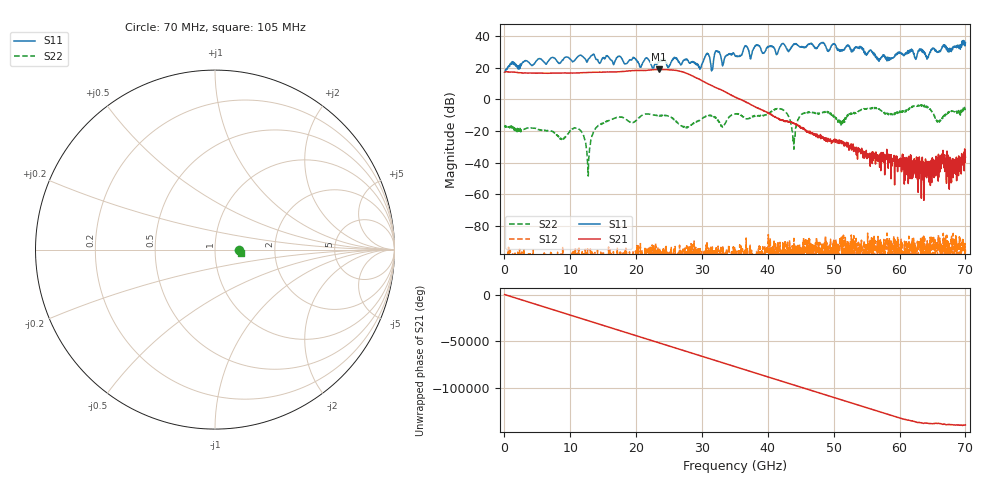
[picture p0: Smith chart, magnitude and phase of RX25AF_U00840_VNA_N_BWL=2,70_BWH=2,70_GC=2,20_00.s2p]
! 3/24/2021 11:01:35 AM, file used: 20210120_TX1550_0dBm_deembed_OFF.chx
! Z:\PRODUCTIONTESTRESULTS\RXANDRXM\VNA TEMP\VNA_TEMP_1_2489361658.S2P
! CHANNEL.1
! TR.MEASUREMENT
! CORRECTED.DATA
# GHZ S DB R 50.0
! FREQ.GHZ  S11DB  S11A  S21DB  S21A  S12DB  S12A  S22DB  S22A
!; PortSelection: Port_12
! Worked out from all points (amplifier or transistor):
!   2000 points, 35 MHz to 70 GHz, reference 50 ohm
!   highest |S21| = 18.9 dB at 23.41 GHz (marker M1)
!   |S21| within 3 dB of that: start of sweep to 27.96 GHz
!   unconditionally stable (mu >= 1): nowhere
!   at 11.69 GHz: K = -5109530.64, MSG = 59.2 dB, |S12| = -101.6 dB
!   at 35.03 GHz: K = -37851835.93, MSG = 53.4 dB, |S12| = -105.4 dB
!   at 70 GHz: K = -5178392953.12, MSG = 29.2 dB, |S12| = -95.1 dB
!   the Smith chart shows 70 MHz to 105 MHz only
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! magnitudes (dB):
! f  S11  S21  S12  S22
! 35 MHz  17.1  17.1  -118.6  -17.1
! 8.645 GHz  23.8  16.6  -99.5  -25.3
! 11.72 GHz  27.6  16.8  -99.1  -20.6
! 12.71 GHz  25.1  17.0  -99.3  -48.3
! 13.47 GHz  28.4  17.2  -107.9  -21.1
! 14.49 GHz  22.8  17.2  -101.0  -16.1
! 23.38 GHz  23.6  18.8  -108.2  -10.5
! 23.41 GHz  23.4  18.9  -98.6  -10.2
! 27.58 GHz  25.1  16.6  -98.4  -18.0
! 31.08 GHz  27.3  9.5  -96.9  -10.2
! 33.22 GHz  22.2  5.5  -95.2  -17.3
! 35.03 GHz  27.4  1.4  -105.4  -9.2
! 42.07 GHz  34.8  -13.1  -101.0  -6.2
! 43.96 GHz  35.1  -15.3  -87.9  -31.5
! 44.91 GHz  33.2  -16.9  -102.7  -10.3
! 46.69 GHz  35.1  -21.4  -93.3  -8.2
! 51.13 GHz  30.5  -27.9  -93.5  -16.8
! 54.53 GHz  31.9  -32.8  -94.3  -5.9
! 58.34 GHz  26.5  -34.7  -93.7  -9.5
! 63.56 GHz  30.9  -41.8  -94.3  -4.0
! 65.91 GHz  30.1  -34.7  -85.7  -14.7
! 70 GHz  35.8  -36.6  -95.1  -5.4
